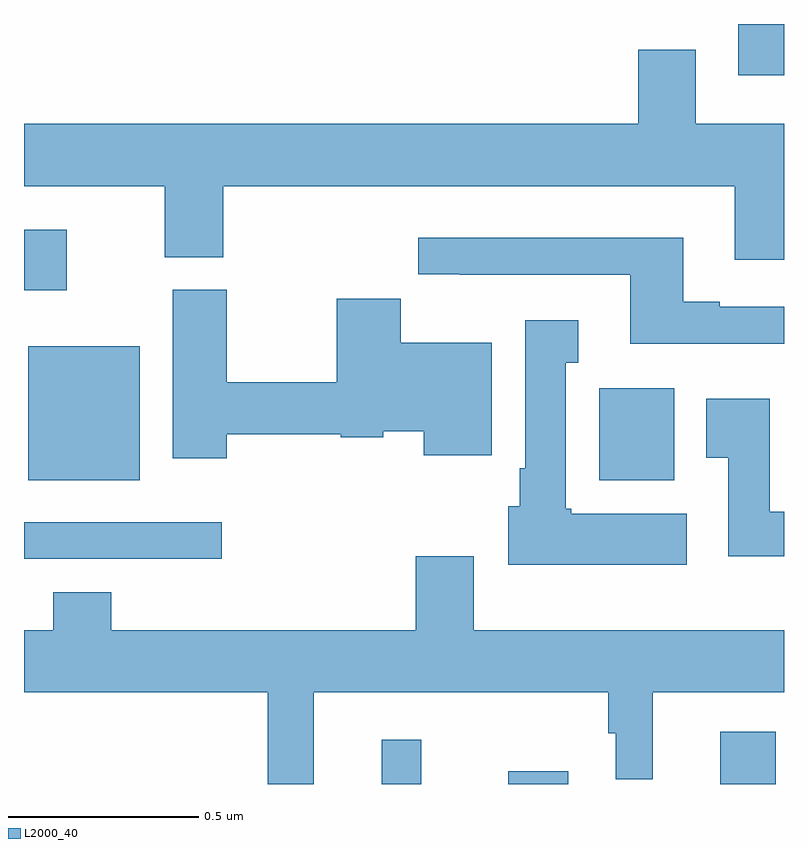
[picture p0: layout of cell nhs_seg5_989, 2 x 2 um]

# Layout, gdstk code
import gdstk
lib = gdstk.Library(unit=1e-6, precision=1e-09)
def R(c, l, rs):  # rectangles x0, y0, x1, y1
    for r in rs: c.add(gdstk.rectangle(r[:2], r[2:], *l))
def P(c, l, *ps):  # polygons
    for p in ps: c.add(gdstk.Polygon(p, *l))
L2000_40 = (2000, 40)

nhs_seg5_989 = lib.new_cell('nhs_seg5_989')
R(nhs_seg5_989, L2000_40, [(123.941,909.799,124.045,909.916), (124.274,909.799,124.432,909.832), (124.832,909.799,124.978,909.937), (123,910.392,123.52,910.488), (123.011,910.598,123.304,910.951), (124.514,910.598,124.711,910.84), (123,911.099,123.112,911.257), (124.88,911.664,125,911.799)])
P(nhs_seg5_989, L2000_40, [(125,911.536),(124.768,911.536),(124.768,911.731),(124.616,911.731),(124.616,911.536),(123,911.536),(123,911.372),(123.371,911.372),(123.371,911.185),(123.524,911.185),(123.524,911.372),(124.871,911.372),(124.871,911.178),(125,911.178)],
  [(125,911.055),(124.831,911.055),(124.831,911.068),(124.735,911.068),(124.735,911.236),(124.038,911.236),(124.038,911.141),(124.147,911.141),(124.147,911.139),(124.595,911.139),(124.595,910.958),(125,910.958)],
  [(123.534,910.72),(123.834,910.72),(123.834,910.712),(123.945,910.712),(123.945,910.727),(124.052,910.727),(124.052,910.664),(124.231,910.664),(124.231,910.96),(123.991,910.96),(123.991,911.076),(123.823,911.076),(123.823,910.856),(123.534,910.856),(123.534,911.1),(123.392,911.1),(123.392,910.656),(123.534,910.656)],
  [(124.744,910.51),(124.44,910.51),(124.44,910.524),(124.426,910.524),(124.426,910.907),(124.459,910.907),(124.459,911.02),(124.319,911.02),(124.319,910.63),(124.304,910.63),(124.304,910.53),(124.274,910.53),(124.274,910.376),(124.744,910.376)],
  [(125,910.516),(124.963,910.516),(124.963,910.813),(124.796,910.813),(124.796,910.657),(124.853,910.657),(124.853,910.398),(125,910.398)],
  [(123.763,910.04),(124.537,910.04),(124.537,909.933),(124.557,909.933),(124.557,909.812),(124.654,909.812),(124.654,910.04),(125,910.04),(125,910.204),(124.183,910.204),(124.183,910.399),(124.031,910.399),(124.031,910.204),(123.23,910.204),(123.23,910.303),(123.077,910.303),(123.077,910.204),(123,910.204),(123,910.04),(123.642,910.04),(123.642,909.799),(123.763,909.799)])

lib.write_gds('nhs_seg5_989.gds')
